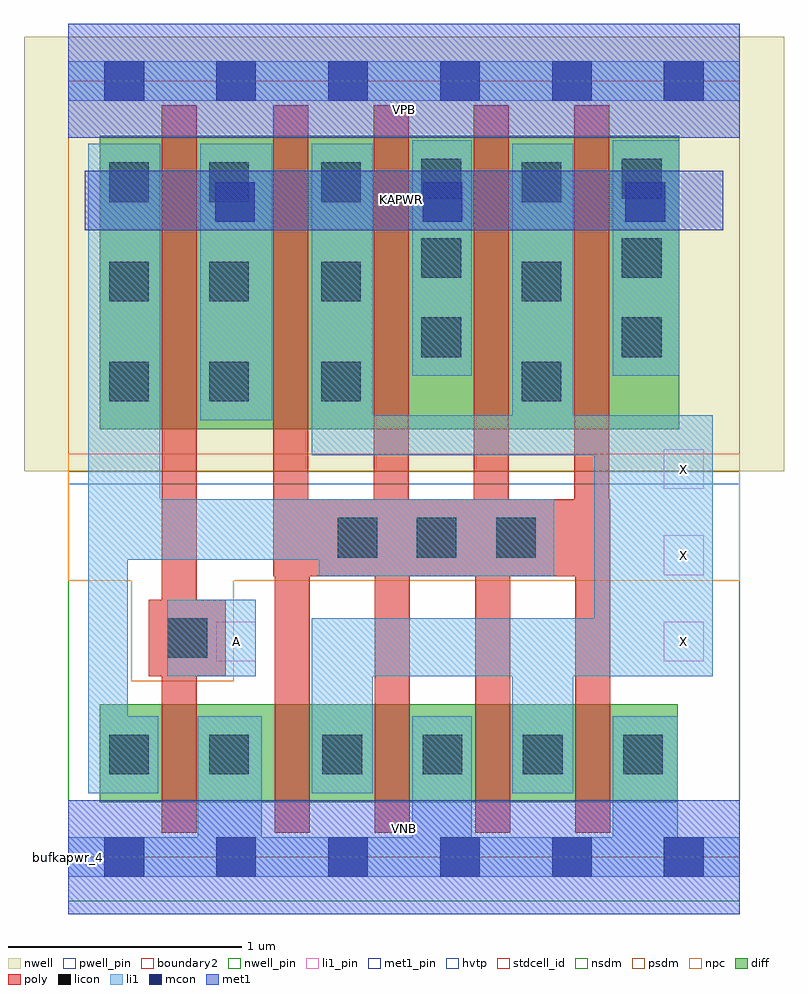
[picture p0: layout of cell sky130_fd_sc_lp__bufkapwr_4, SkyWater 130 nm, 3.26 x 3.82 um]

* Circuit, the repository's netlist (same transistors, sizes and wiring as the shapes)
* Copyright 2020 The SkyWater PDK Authors
*
* Licensed under the Apache License, Version 2.0 (the "License");
* you may not use this file except in compliance with the License.
* You may obtain a copy of the License at
*
*     https://www.apache.org/licenses/LICENSE-2.0
*
* Unless required by applicable law or agreed to in writing, software
* distributed under the License is distributed on an "AS IS" BASIS,
* WITHOUT WARRANTIES OR CONDITIONS OF ANY KIND, either express or implied.
* See the License for the specific language governing permissions and
* limitations under the License.
*
* SPDX-License-Identifier: Apache-2.0

.SUBCKT sky130_fd_sc_lp__bufkapwr_4 A KAPWR VGND VNB VPB VPWR X
*.PININFO A:I KAPWR:I VGND:I VNB:I VPB:I VPWR:I X:O
MMIN0 Ab A VGND VNB sky130_fd_pr__nfet_01v8 m=1 w=0.42U l=0.15U mult=1 sa=0.265
+ sb=0.265 sd=0.28 area=0.063 perim=1.14
MMIN1 X Ab VGND VNB sky130_fd_pr__nfet_01v8 m=4 w=0.42U l=0.15U mult=1 sa=0.265
+ sb=0.265 sd=0.28 area=0.063 perim=1.14
MMIP0 Ab A KAPWR VPB sky130_fd_pr__pfet_01v8_hvt m=1 w=1.26U l=0.15U mult=1 sa=0.265
+ sb=0.265 sd=0.28 area=0.063 perim=1.14
MMIP1 X Ab KAPWR VPB sky130_fd_pr__pfet_01v8_hvt m=4 w=1.26U l=0.15U mult=1 sa=0.265
+ sb=0.265 sd=0.28 area=0.063 perim=1.14
.ENDS sky130_fd_sc_lp__bufkapwr_4

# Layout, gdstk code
import gdstk
lib = gdstk.Library(unit=1e-6, precision=1e-09)
def R(c, l, rs):  # rectangles x0, y0, x1, y1
    for r in rs: c.add(gdstk.rectangle(r[:2], r[2:], *l))
def A(c, l, x, y, w, h, nx, ny, dx, dy):  # array of equal rectangles
    R(c, l, [(x+i*dx, y+j*dy, x+i*dx+w, y+j*dy+h) for i in range(nx) for j in range(ny)])
def P(c, l, *ps):  # polygons
    for p in ps: c.add(gdstk.Polygon(p, *l))
nwell_pin = (64, 16)
nwell = (64, 20)
diff = (65, 20)
poly = (66, 20)
licon = (66, 44)
li1_pin = (67, 16)
li1 = (67, 20)
mcon = (67, 44)
met1_pin = (68, 16)
met1 = (68, 20)
hvtp = (78, 44)
stdcell_id = (81, 4)
nsdm = (93, 44)
psdm = (94, 20)
npc = (95, 20)
pwell_pin = (122, 16)
boundary2 = (236, 0)

sky130_fd_sc_lp__bufkapw = lib.new_cell('sky130_fd_sc_lp__bufkapwr_4')
R(sky130_fd_sc_lp__bufkapw, nwell_pin, [(0,3.085,2.88,3.33)])
R(sky130_fd_sc_lp__bufkapw, nwell, [(-0.19,1.655,3.07,3.52)])
R(sky130_fd_sc_lp__bufkapw, diff, [(0.135,0.235,2.615,0.655), (0.135,1.835,2.62,3.095)])
P(sky130_fd_sc_lp__bufkapw, poly, [(0.675,1.105),(0.55,1.105),(0.55,3.225),(0.4,3.225),(0.4,1.105),(0.345,1.105),(0.345,0.775),(0.4,0.775),(0.4,0.105),(0.55,0.105),(0.55,0.775),(0.675,0.775)],
  [(2.325,1.535),(2.32,1.535),(2.32,3.225),(2.17,3.225),(2.17,1.535),(1.89,1.535),(1.89,3.225),(1.74,3.225),(1.74,1.535),(1.46,1.535),(1.46,3.225),(1.31,3.225),(1.31,1.535),(1.03,1.535),(1.03,3.225),(0.88,3.225),(0.88,1.205),(0.885,1.205),(0.885,0.105),(1.035,0.105),(1.035,1.205),(1.315,1.205),(1.315,0.105),(1.465,0.105),(1.465,1.205),(1.745,1.205),(1.745,0.105),(1.895,0.105),(1.895,1.205),(2.175,1.205),(2.175,0.105),(2.325,0.105)])
A(sky130_fd_sc_lp__bufkapw, licon, 1.09, 0.355, 0.17, 0.17, 4, 1, 0.43, 0)
A(sky130_fd_sc_lp__bufkapw, licon, 1.155, 1.285, 0.17, 0.17, 3, 1, 0.34, 0)
A(sky130_fd_sc_lp__bufkapw, licon, 1.515, 2.145, 0.17, 0.17, 1, 3, 0, 0.34)
A(sky130_fd_sc_lp__bufkapw, licon, 2.375, 2.145, 0.17, 0.17, 1, 3, 0, 0.34)
R(sky130_fd_sc_lp__bufkapw, licon, [(0.175,0.355,0.345,0.525), (0.605,0.355,0.775,0.525), (0.425,0.855,0.595,1.025), (0.175,1.955,0.345,2.125), (0.605,1.955,0.775,2.125), (1.085,1.955,1.255,2.125), (1.945,1.955,2.115,2.125), (0.175,2.385,0.345,2.555), (0.605,2.385,0.775,2.555), (1.085,2.385,1.255,2.555), (1.945,2.385,2.115,2.555), (0.175,2.81,0.345,2.98), (0.605,2.81,0.775,2.98), (1.085,2.81,1.255,2.98), (1.945,2.81,2.115,2.98)])
A(sky130_fd_sc_lp__bufkapw, li1_pin, 2.555, 0.84, 0.17, 0.17, 1, 3, 0, 0.37)
R(sky130_fd_sc_lp__bufkapw, li1_pin, [(0.635,0.84,0.805,1.01)])
R(sky130_fd_sc_lp__bufkapw, li1, [(0.425,0.775,0.805,1.105), (0.565,1.875,0.875,3.06), (1.475,2.065,1.73,3.075), (2.335,2.065,2.62,3.075), (0,3.245,2.88,3.415)])
P(sky130_fd_sc_lp__bufkapw, li1, [(2.085,1.535),(0.395,1.535),(0.395,3.06),(0.085,3.06),(0.085,0.275),(0.385,0.275),(0.385,0.605),(0.255,0.605),(0.255,1.275),(1.075,1.275),(1.075,1.205),(2.085,1.205)],
  [(2.765,1.895),(2.165,1.895),(2.165,3.06),(1.905,3.06),(1.905,1.895),(1.305,1.895),(1.305,3.06),(1.045,3.06),(1.045,1.725),(2.255,1.725),(2.255,1.025),(1.045,1.025),(1.045,0.275),(1.305,0.275),(1.305,0.775),(1.905,0.775),(1.905,0.275),(2.165,0.275),(2.165,0.775),(2.765,0.775)],
  [(2.88,0.085),(2.615,0.085),(2.615,0.605),(2.335,0.605),(2.335,0.085),(1.73,0.085),(1.73,0.605),(1.475,0.605),(1.475,0.085),(0.83,0.085),(0.83,0.605),(0.555,0.605),(0.555,0.085),(0,0.085),(0,-0.085),(2.88,-0.085)])
A(sky130_fd_sc_lp__bufkapw, mcon, 0.155, -0.085, 0.17, 0.17, 6, 2, 0.48, 3.33)
R(sky130_fd_sc_lp__bufkapw, mcon, [(0.63,2.725,0.8,2.895), (1.52,2.725,1.69,2.895), (2.39,2.725,2.56,2.895)])
R(sky130_fd_sc_lp__bufkapw, met1_pin, [(0,0,2.88,0.245), (0.07,2.69,2.81,2.945), (0,3.085,2.88,3.33)])
R(sky130_fd_sc_lp__bufkapw, met1, [(0,-0.245,2.88,0.245), (0.07,2.69,2.81,2.945), (0,3.085,2.88,3.575)])
R(sky130_fd_sc_lp__bufkapw, hvtp, [(0,1.6,2.88,3.33)])
R(sky130_fd_sc_lp__bufkapw, stdcell_id, [(0,0,2.88,3.33)])
R(sky130_fd_sc_lp__bufkapw, nsdm, [(0,-0.19,2.88,1.655)])
R(sky130_fd_sc_lp__bufkapw, psdm, [(0,1.655,2.88,3.52)])
P(sky130_fd_sc_lp__bufkapw, npc, [(2.88,1.73),(0,1.73),(0,1.185),(0.27,1.185),(0.27,0.755),(0.71,0.755),(0.71,1.185),(2.88,1.185)])
R(sky130_fd_sc_lp__bufkapw, pwell_pin, [(0,0,2.88,0.245)])
R(sky130_fd_sc_lp__bufkapw, boundary2, [(0,0,2.88,3.33)])
sky130_fd_sc_lp__bufkapw.add(gdstk.Label('VNB', (1.44,0.123), layer=64, texttype=59))
sky130_fd_sc_lp__bufkapw.add(gdstk.Label('VPB', (1.44,3.208), layer=64, texttype=5))
sky130_fd_sc_lp__bufkapw.add(gdstk.Label('bufkapwr_4', (0,0), layer=83, texttype=44))
sky130_fd_sc_lp__bufkapw.add(gdstk.Label('KAPWR', (1.43,2.82), layer=68, texttype=5))
sky130_fd_sc_lp__bufkapw.add(gdstk.Label('VPWR', (1.44,3.208), layer=68, texttype=5))
sky130_fd_sc_lp__bufkapw.add(gdstk.Label('VGND', (1.44,0.123), layer=68, texttype=5))
sky130_fd_sc_lp__bufkapw.add(gdstk.Label('A', (0.72,0.925), layer=67, texttype=5))
sky130_fd_sc_lp__bufkapw.add(gdstk.Label('X', (2.64,1.665), layer=67, texttype=5))
sky130_fd_sc_lp__bufkapw.add(gdstk.Label('X', (2.64,1.295), layer=67, texttype=5))
sky130_fd_sc_lp__bufkapw.add(gdstk.Label('X', (2.64,0.925), layer=67, texttype=5))

lib.write_gds('sky130_fd_sc_lp__bufkapwr_4.gds')
